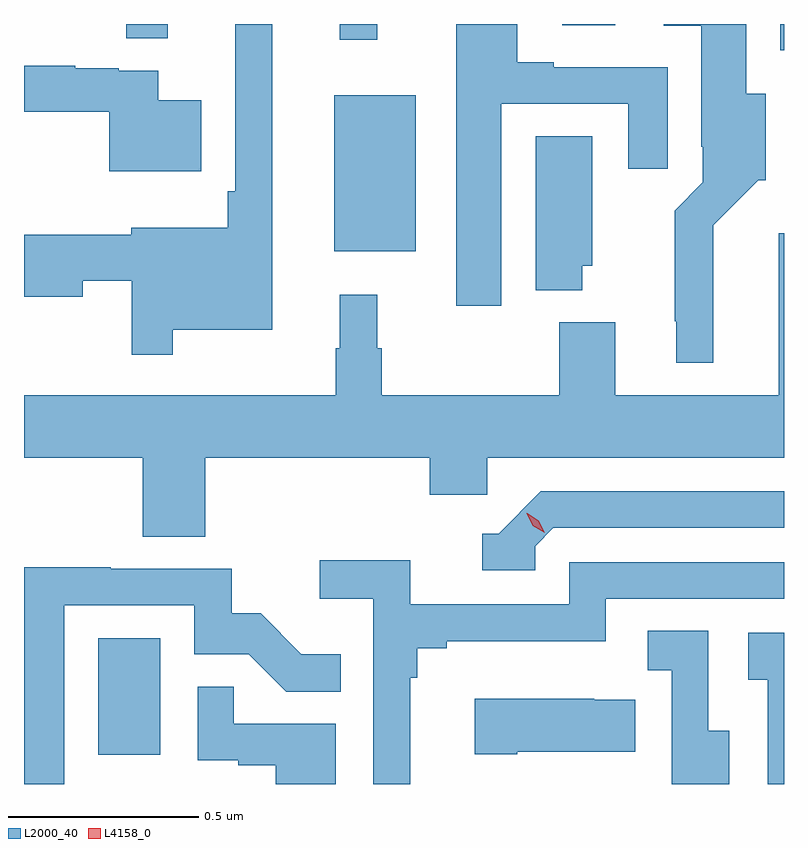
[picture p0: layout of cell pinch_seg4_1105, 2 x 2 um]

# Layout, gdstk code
import gdstk
lib = gdstk.Library(unit=1e-6, precision=1e-09)
def R(c, l, rs):  # rectangles x0, y0, x1, y1
    for r in rs: c.add(gdstk.rectangle(r[:2], r[2:], *l))
def P(c, l, *ps):  # polygons
    for p in ps: c.add(gdstk.Polygon(p, *l))
L2000_40 = (2000, 40)
L4158_0 = (4158, 0)

pinch_seg4_1105 = lib.new_cell('pinch_seg4_1105')
R(pinch_seg4_1105, L2000_40, [(875.498,750.75,875.662,751.057), (876.119,752.075,876.334,752.485), (877.293,752.604,877.303,752.673), (876.134,752.631,876.233,752.673), (875.572,752.635,875.681,752.673), (876.719,752.67,876.859,752.673)])
P(pinch_seg4_1105, L2000_40, [(875.695,751.868),(875.956,751.868),(875.956,752.673),(875.859,752.673),(875.859,752.233),(875.839,752.233),(875.839,752.137),(875.585,752.137),(875.585,752.119),(875.303,752.119),(875.303,751.955),(875.458,751.955),(875.458,751.998),(875.586,751.998),(875.586,751.803),(875.695,751.803)],
  [(877.117,752.144),(877.235,752.262),(877.255,752.262),(877.255,752.49),(877.204,752.49),(877.204,752.673),(876.987,752.673),(876.987,752.669),(877.085,752.669),(877.085,752.35),(877.089,752.35),(877.089,752.256),(877.015,752.182),(877.015,751.891),(877.019,751.891),(877.019,751.781),(877.117,751.781)],
  [(876.559,752.463),(876.893,752.463),(876.893,752.292),(876.997,752.292),(876.997,752.559),(876.697,752.559),(876.697,752.572),(876.601,752.572),(876.601,752.673),(876.44,752.673),(876.44,751.932),(876.559,751.932)],
  [(875.77,752.473),(875.656,752.473),(875.656,752.55),(875.552,752.55),(875.552,752.556),(875.438,752.556),(875.438,752.563),(875.303,752.563),(875.303,752.442),(875.527,752.442),(875.527,752.285),(875.77,752.285)],
  [(876.772,752.037),(876.799,752.037),(876.799,752.378),(876.65,752.378),(876.65,751.973),(876.772,751.973)],
  [(875.78,751.532),(876.371,751.532),(876.371,751.434),(876.522,751.434),(876.522,751.532),(877.303,751.532),(877.303,752.122),(877.289,752.122),(877.289,751.696),(876.859,751.696),(876.859,751.888),(876.712,751.888),(876.712,751.696),(876.244,751.696),(876.244,751.82),(876.233,751.82),(876.233,751.96),(876.134,751.96),(876.134,751.82),(876.123,751.82),(876.123,751.696),(875.303,751.696),(875.303,751.532),(875.615,751.532),(875.615,751.324),(875.78,751.324)],
  [(876.648,751.299),(876.696,751.347),(877.303,751.347),(877.303,751.443),(876.663,751.443),(876.552,751.332),(876.509,751.332),(876.509,751.236),(876.648,751.236)],
  [(876.319,750.953),(876.338,750.953),(876.338,751.03),(876.415,751.03),(876.415,751.049),(876.834,751.049),(876.834,751.161),(877.303,751.161),(877.303,751.257),(876.738,751.257),(876.738,751.146),(876.32,751.146),(876.32,751.262),(876.081,751.262),(876.081,751.16),(876.222,751.16),(876.222,750.673),(876.319,750.673)],
  [(875.409,751.143),(875.751,751.143),(875.751,751.014),(875.895,751.014),(875.993,750.916),(876.137,750.916),(876.137,751.015),(876.033,751.015),(875.926,751.122),(875.85,751.122),(875.85,751.239),(875.531,751.239),(875.531,751.244),(875.303,751.244),(875.303,750.673),(875.409,750.673)],
  [(877.159,750.813),(877.104,750.813),(877.104,751.076),(876.945,751.076),(876.945,750.973),(877.008,750.973),(877.008,750.673),(877.159,750.673)],
  [(877.303,751.071),(877.209,751.071),(877.209,750.947),(877.26,750.947),(877.26,750.673),(877.303,750.673)],
  [(876.124,750.831),(875.855,750.831),(875.855,750.929),(875.76,750.929),(875.76,750.735),(875.867,750.735),(875.867,750.723),(875.966,750.723),(875.966,750.673),(876.124,750.673)],
  [(876.601,750.758),(876.911,750.758),(876.911,750.895),(876.803,750.895),(876.803,750.898),(876.489,750.898),(876.489,750.751),(876.601,750.751)])
P(pinch_seg4_1105, L4158_0, [(876.673,751.334),(876.642,751.353),(876.626,751.386),(876.626,751.386),(876.627,751.386),(876.657,751.366),(876.673,751.334),(876.673,751.334)])

lib.write_gds('pinch_seg4_1105.gds')
